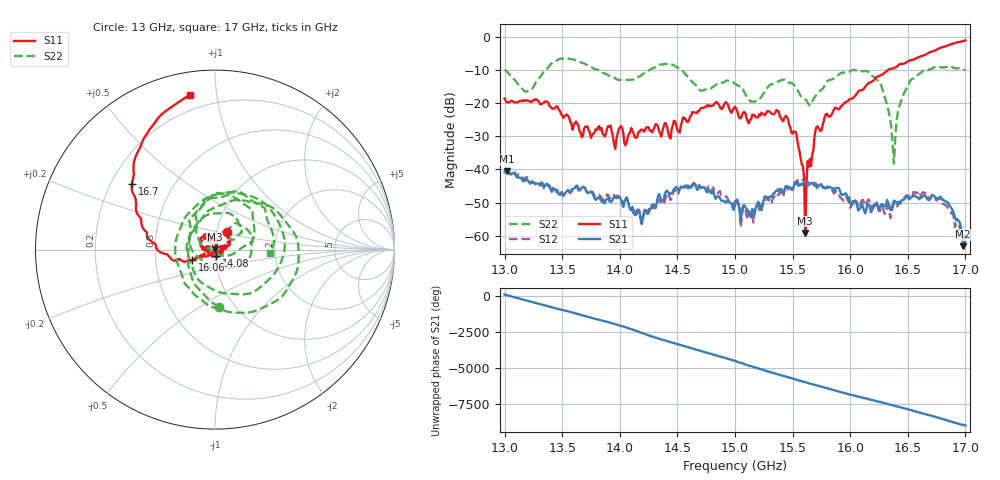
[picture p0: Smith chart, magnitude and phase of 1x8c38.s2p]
!Keysight Technologies,P9374A,MY57211807,A.19.30.04
!Date: Friday, May 08, 2026 15:10:59
!Correction: S11(C  2-Port  )
!S21(C  2-Port  )
!S12(C  2-Port  )
!S22(C  2-Port  )
!S2P File: Measurements: S11, S21, S12, S22:
# Hz S  dB  R 50
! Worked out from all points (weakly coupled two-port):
!   401 points, 13 GHz to 17 GHz, reference 50 ohm
!   highest |S21| = -40.61 dB at 13.02 GHz (marker M1); lowest = -63.1 dB at 16.98 GHz (marker M2)
!   lowest |S11| = -59.1 dB at 15.61 GHz (marker M3), VSWR 1.00, Z = 49.9 + j0.0594 ohm
!   |S11| at or under -10 dB: start of sweep to 16.33 GHz
!   |S22| runs from -38.2 to -6.5 dB; largest |S21 - S12| = 0.0013
!   S11 on the Smith chart (normalised r, x): 13 GHz: 1.12, +0.22; 14.08 GHz: 1.01, -0.07; 16.06 GHz: 0.77, -0.09; 16.7 GHz: 0.29, +0.32; 17 GHz: 0.12, +0.85
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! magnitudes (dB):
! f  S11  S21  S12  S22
! 13 GHz  -18.7  -40.8  -40.6  -9.9
! 13.02 GHz  -19.8  -40.6  -40.6  -10.5
! 13.19 GHz  -19.2  -42.8  -42.3  -16.6
! 13.67 GHz  -30.3  -45.5  -45.6  -7.8
! 14.08 GHz  -29.2  -50.9  -50.9  -13.0
! 14.34 GHz  -28.3  -47.4  -49.1  -8.5
! 14.64 GHz  -22.8  -44.1  -44.2  -14.0
! 15 GHz  -21.2  -49.6  -50.4  -14.2
! 15.16 GHz  -23.7  -52.6  -56.0  -19.6
! 15.45 GHz  -24.2  -45.2  -45.7  -13.8
! 15.61 GHz  -59.1  -43.6  -43.2  -18.9
! 15.67 GHz  -35.7  -44.3  -43.6  -19.7
! 15.79 GHz  -23.4  -45.5  -45.6  -14.0
! 16.06 GHz  -17.1  -50.9  -49.9  -10.2
! 16.25 GHz  -11.8  -52.6  -51.8  -13.6
! 16.34 GHz  -9.9  -51.0  -53.0  -23.5
! 16.38 GHz  -9.5  -49.3  -50.4  -38.2
! 16.5 GHz  -7.5  -48.3  -48.0  -14.8
! 16.7 GHz  -4.6  -48.6  -48.6  -9.8
! 16.86 GHz  -2.5  -50.8  -52.0  -8.9
! 16.98 GHz  -1.4  -63.1  -61.4  -9.8
! 17 GHz  -1.2  -62.3  -60.7  -10.2
